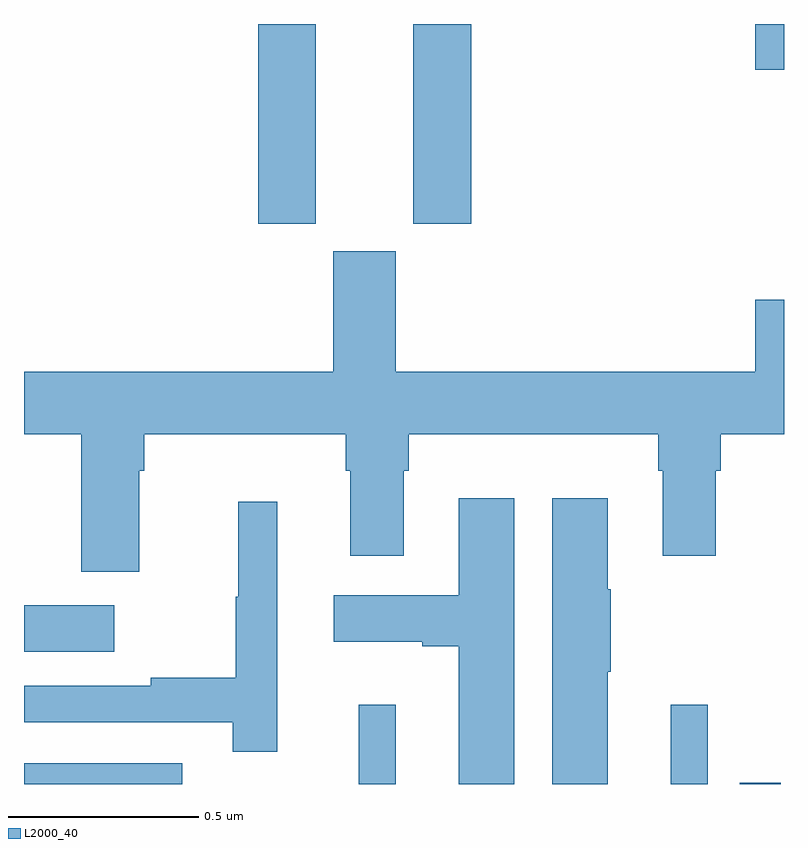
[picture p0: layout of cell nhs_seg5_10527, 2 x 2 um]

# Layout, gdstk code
import gdstk
lib = gdstk.Library(unit=1e-6, precision=1e-09)
def R(c, l, rs):  # rectangles x0, y0, x1, y1
    for r in rs: c.add(gdstk.rectangle(r[:2], r[2:], *l))
def P(c, l, *ps):  # polygons
    for p in ps: c.add(gdstk.Polygon(p, *l))
L2000_40 = (2000, 40)

nhs_seg5_10527 = lib.new_cell('nhs_seg5_10527')
R(nhs_seg5_10527, L2000_40, [(247,895.799,247.416,895.854), (247.881,895.799,247.978,896.008), (248.702,895.799,248.799,896.008), (248.884,895.799,248.992,895.802), (247,896.147,247.237,896.269), (247.616,897.273,247.768,897.799), (248.024,897.273,248.177,897.799), (248.924,897.678,249,897.799)])
P(nhs_seg5_10527, L2000_40, [(247.303,896.624),(247.316,896.624),(247.316,896.72),(247.847,896.72),(247.847,896.624),(247.859,896.624),(247.859,896.4),(247.999,896.4),(247.999,896.624),(248.012,896.624),(248.012,896.72),(248.669,896.72),(248.669,896.624),(248.681,896.624),(248.681,896.4),(248.821,896.4),(248.821,896.624),(248.834,896.624),(248.834,896.72),(249,896.72),(249,897.073),(248.924,897.073),(248.924,896.884),(247.978,896.884),(247.978,897.201),(247.814,897.201),(247.814,896.884),(247,896.884),(247,896.72),(247.151,896.72),(247.151,896.358),(247.303,896.358)],
  [(248.536,896.095),(248.544,896.095),(248.544,896.312),(248.536,896.312),(248.536,896.551),(248.39,896.551),(248.39,895.799),(248.536,895.799)],
  [(248.29,896.551),(248.144,896.551),(248.144,896.296),(247.815,896.296),(247.815,896.174),(248.048,896.174),(248.048,896.162),(248.144,896.162),(248.144,895.799),(248.29,895.799)],
  [(247.666,896.542),(247.564,896.542),(247.564,896.292),(247.557,896.292),(247.557,896.078),(247.333,896.078),(247.333,896.058),(247,896.058),(247,895.962),(247.549,895.962),(247.549,895.884),(247.666,895.884)])

lib.write_gds('nhs_seg5_10527.gds')
